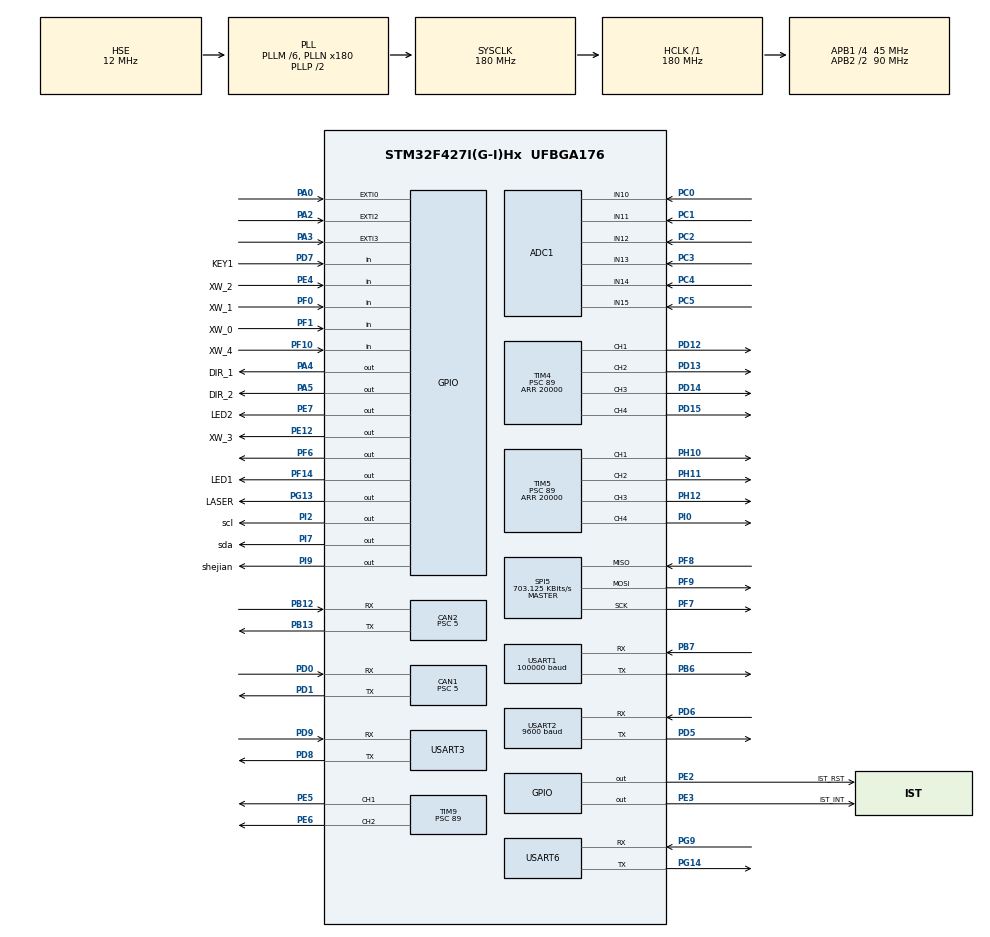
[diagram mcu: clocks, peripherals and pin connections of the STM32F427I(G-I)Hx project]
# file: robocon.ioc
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ADC1.Channel-0\#ChannelRegularConversion=ADC_CHANNEL_12
ADC1.Channel-1\#ChannelRegularConversion=ADC_CHANNEL_13
ADC1.Channel-2\#ChannelRegularConversion=ADC_CHANNEL_14
ADC1.Channel-3\#ChannelRegularConversion=ADC_CHANNEL_15
ADC1.Channel-4\#ChannelRegularConversion=ADC_CHANNEL_10
ADC1.Channel-5\#ChannelRegularConversion=ADC_CHANNEL_11
ADC1.ContinuousConvMode=ENABLE
ADC1.DMAContinuousRequests=ENABLE
ADC1.NbrOfConversion=6
ADC1.NbrOfConversionFlag=1
ADC1.Rank-0\#ChannelRegularConversion=1
ADC1.Rank-1\#ChannelRegularConversion=2
ADC1.Rank-2\#ChannelRegularConversion=3
ADC1.Rank-3\#ChannelRegularConversion=4
ADC1.Rank-4\#ChannelRegularConversion=5
ADC1.Rank-5\#ChannelRegularConversion=6
ADC1.SamplingTime-0\#ChannelRegularConversion=ADC_SAMPLETIME_3CYCLES
ADC1.SamplingTime-1\#ChannelRegularConversion=ADC_SAMPLETIME_3CYCLES
ADC1.SamplingTime-2\#ChannelRegularConversion=ADC_SAMPLETIME_3CYCLES
ADC1.SamplingTime-3\#ChannelRegularConversion=ADC_SAMPLETIME_3CYCLES
ADC1.SamplingTime-4\#ChannelRegularConversion=ADC_SAMPLETIME_3CYCLES
ADC1.SamplingTime-5\#ChannelRegularConversion=ADC_SAMPLETIME_3CYCLES
ADC1.ScanConvMode=ENABLE
ADC1.master=1
CAN1.ABOM=ENABLE
CAN1.BS1=CAN_BS1_3TQ
CAN1.BS2=CAN_BS2_5TQ
CAN1.CalculateBaudRate=1000000
CAN1.CalculateTimeBit=999.99
CAN1.CalculateTimeQuantum=111.11111111111111
CAN1.Prescaler=5
CAN1.SJW=CAN_SJW_1TQ
CAN2.ABOM=ENABLE
CAN2.BS1=CAN_BS1_3TQ
CAN2.BS2=CAN_BS2_5TQ
CAN2.CalculateBaudRate=1000000
CAN2.CalculateTimeBit=999.99
CAN2.CalculateTimeQuantum=111.11111111111111
CAN2.Prescaler=5
CAN2.SJW=CAN_SJW_1TQ
Dma.ADC1.3.Direction=DMA_PERIPH_TO_MEMORY
Dma.ADC1.3.FIFOMode=DMA_FIFOMODE_DISABLE
Dma.ADC1.3.Instance=DMA2_Stream0
Dma.ADC1.3.MemDataAlignment=DMA_MDATAALIGN_WORD
Dma.ADC1.3.MemInc=DMA_MINC_ENABLE
Dma.ADC1.3.Mode=DMA_CIRCULAR
Dma.ADC1.3.PeriphDataAlignment=DMA_PDATAALIGN_WORD
Dma.ADC1.3.PeriphInc=DMA_PINC_DISABLE
Dma.ADC1.3.Priority=DMA_PRIORITY_MEDIUM
Dma.Request0=USART1_RX
Dma.Request1=USART2_RX
Dma.Request2=USART6_RX
Dma.Request3=ADC1
Dma.Request4=USART2_TX
Dma.Request5=USART6_TX
Dma.USART1_RX.0.Direction=DMA_PERIPH_TO_MEMORY
Dma.USART1_RX.0.FIFOMode=DMA_FIFOMODE_DISABLE
Dma.USART1_RX.0.Instance=DMA2_Stream2
Dma.USART1_RX.0.MemDataAlignment=DMA_MDATAALIGN_BYTE
Dma.USART1_RX.0.MemInc=DMA_MINC_ENABLE
Dma.USART1_RX.0.Mode=DMA_CIRCULAR
Dma.USART1_RX.0.PeriphDataAlignment=DMA_PDATAALIGN_BYTE
Dma.USART1_RX.0.PeriphInc=DMA_PINC_DISABLE
Dma.USART1_RX.0.Priority=DMA_PRIORITY_MEDIUM
Dma.USART2_RX.1.Direction=DMA_PERIPH_TO_MEMORY
Dma.USART2_RX.1.FIFOMode=DMA_FIFOMODE_DISABLE
Dma.USART2_RX.1.Instance=DMA1_Stream5
Dma.USART2_RX.1.MemDataAlignment=DMA_MDATAALIGN_BYTE
Dma.USART2_RX.1.MemInc=DMA_MINC_ENABLE
Dma.USART2_RX.1.Mode=DMA_CIRCULAR
Dma.USART2_RX.1.PeriphDataAlignment=DMA_PDATAALIGN_BYTE
Dma.USART2_RX.1.PeriphInc=DMA_PINC_DISABLE
Dma.USART2_RX.1.Priority=DMA_PRIORITY_MEDIUM
Dma.USART2_TX.4.Direction=DMA_MEMORY_TO_PERIPH
Dma.USART2_TX.4.FIFOMode=DMA_FIFOMODE_DISABLE
Dma.USART2_TX.4.Instance=DMA1_Stream6
Dma.USART2_TX.4.MemDataAlignment=DMA_MDATAALIGN_BYTE
Dma.USART2_TX.4.MemInc=DMA_MINC_ENABLE
Dma.USART2_TX.4.Mode=DMA_NORMAL
Dma.USART2_TX.4.PeriphDataAlignment=DMA_PDATAALIGN_BYTE
Dma.USART2_TX.4.PeriphInc=DMA_PINC_DISABLE
Dma.USART2_TX.4.Priority=DMA_PRIORITY_MEDIUM
Dma.USART6_RX.2.Direction=DMA_PERIPH_TO_MEMORY
Dma.USART6_RX.2.FIFOMode=DMA_FIFOMODE_DISABLE
Dma.USART6_RX.2.Instance=DMA2_Stream1
Dma.USART6_RX.2.MemDataAlignment=DMA_MDATAALIGN_BYTE
Dma.USART6_RX.2.MemInc=DMA_MINC_ENABLE
Dma.USART6_RX.2.Mode=DMA_CIRCULAR
Dma.USART6_RX.2.PeriphDataAlignment=DMA_PDATAALIGN_BYTE
Dma.USART6_RX.2.PeriphInc=DMA_PINC_DISABLE
Dma.USART6_RX.2.Priority=DMA_PRIORITY_MEDIUM
Dma.USART6_TX.5.Direction=DMA_MEMORY_TO_PERIPH
Dma.USART6_TX.5.FIFOMode=DMA_FIFOMODE_DISABLE
Dma.USART6_TX.5.Instance=DMA2_Stream6
Dma.USART6_TX.5.MemDataAlignment=DMA_MDATAALIGN_BYTE
Dma.USART6_TX.5.MemInc=DMA_MINC_ENABLE
Dma.USART6_TX.5.Mode=DMA_NORMAL
Dma.USART6_TX.5.PeriphDataAlignment=DMA_PDATAALIGN_BYTE
Dma.USART6_TX.5.PeriphInc=DMA_PINC_DISABLE
Dma.USART6_TX.5.Priority=DMA_PRIORITY_MEDIUM
FREERTOS.Tasks01=defaultTask,0,128,StartDefaultTask,Default,NULL,Dynamic,NULL,NULL;myTask02,0,128,StartTask02,Default,NULL,Dynamic,NULL,NULL;myTask03,0,128,StartTask03,Default,NULL,Dynamic,NULL,NULL;myTask04,0,128,StartTask04,Default,NULL,Dynamic,NULL,NULL
Mcu.Family=STM32F4
Mcu.Name=STM32F427I(G-I)Hx
Mcu.Package=UFBGA176
NVIC.CAN1_RX0_IRQn=true\:5\:0\:false\:false\:true\:true\:true\:true
NVIC.CAN1_TX_IRQn=true\:5\:0\:false\:false\:true\:true\:true\:true
NVIC.CAN2_RX0_IRQn=true\:5\:0\:false\:false\:true\:false\:true\:true
NVIC.CAN2_TX_IRQn=true\:5\:0\:false\:false\:true\:false\:true\:true
NVIC.DMA1_Stream5_IRQn=true\:5\:0\:false\:false\:true\:true\:true\:true
NVIC.DMA1_Stream6_IRQn=true\:5\:0\:false\:false\:true\:true\:false\:true
NVIC.DMA2_Stream0_IRQn=true\:5\:0\:false\:false\:true\:true\:false\:true
NVIC.DMA2_Stream1_IRQn=true\:5\:0\:false\:false\:true\:true\:true\:true
NVIC.DMA2_Stream2_IRQn=true\:5\:0\:false\:false\:true\:true\:true\:true
NVIC.DMA2_Stream6_IRQn=true\:5\:0\:false\:false\:true\:true\:false\:true
NVIC.PriorityGroup=NVIC_PRIORITYGROUP_4
NVIC.TIM6_DAC_IRQn=true\:0\:0\:false\:false\:true\:false\:true\:true
NVIC.TIM7_IRQn=true\:5\:0\:false\:false\:true\:true\:true\:true
NVIC.TimeBase=TIM6_DAC_IRQn
NVIC.TimeBaseIP=TIM6
NVIC.USART1_IRQn=true\:5\:0\:true\:false\:true\:true\:true\:true
NVIC.USART2_IRQn=true\:5\:0\:true\:false\:true\:false\:true\:true
NVIC.USART6_IRQn=true\:5\:0\:true\:false\:true\:true\:true\:true
PA0/WKUP.Signal=GPXTI0
PA13.Mode=Serial_Wire
PA13.Signal=SYS_JTMS-SWDIO
PA14.Mode=Serial_Wire
PA14.Signal=SYS_JTCK-SWCLK
PA2.Signal=GPXTI2
PA3.Signal=GPXTI3
PA4.GPIO_Label=DIR_1
PA4.Signal=GPIO_Output
PA5.GPIO_Label=DIR_2
PA5.Signal=GPIO_Output
PB12.Mode=CAN_Activate
PB12.Signal=CAN2_RX
PB13.Mode=CAN_Activate
PB13.Signal=CAN2_TX
PB6.GPIO_PuPd=GPIO_PULLUP
PB6.Mode=Asynchronous
PB6.Signal=USART1_TX
PB7.GPIO_PuPd=GPIO_PULLUP
PB7.Mode=Asynchronous
PB7.Signal=USART1_RX
PC0.Signal=ADCx_IN10
PC1.Signal=ADCx_IN11
PC2.Signal=ADCx_IN12
PC3.Signal=ADCx_IN13
PC4.Signal=ADCx_IN14
PC5.Signal=ADCx_IN15
PD0.Mode=CAN_Activate
PD0.Signal=CAN1_RX
PD1.Mode=CAN_Activate
PD1.Signal=CAN1_TX
PD12.Signal=S_TIM4_CH1
PD13.Signal=S_TIM4_CH2
PD14.Signal=S_TIM4_CH3
PD15.Signal=S_TIM4_CH4
PD5.Mode=Asynchronous
PD5.Signal=USART2_TX
PD6.Mode=Asynchronous
PD6.Signal=USART2_RX
PD7.GPIO_Label=KEY1
PD7.Signal=GPIO_Input
PD8.Mode=Asynchronous
PD8.Signal=USART3_TX
PD9.Mode=Asynchronous
PD9.Signal=USART3_RX
PE12.GPIO_Label=XW_3
PE12.GPIO_Speed=GPIO_SPEED_FREQ_HIGH
PE12.PinState=GPIO_PIN_SET
PE12.Signal=GPIO_Output
PE2.GPIO_Label=IST_RST
PE2.PinState=GPIO_PIN_SET
PE2.Signal=GPIO_Output
PE3.GPIO_Label=IST_INT
PE3.Signal=GPIO_Output
PE4.GPIO_Label=XW_2
PE4.GPIO_PuPd=GPIO_PULLUP
PE4.Signal=GPIO_Input
PE5.Signal=S_TIM9_CH1
PE6.Signal=S_TIM9_CH2
PE7.GPIO_Label=LED2
PE7.Signal=GPIO_Output
PF0.GPIO_Label=XW_1
PF0.GPIO_PuPd=GPIO_PULLUP
PF0.Signal=GPIO_Input
PF1.GPIO_Label=XW_0
PF1.GPIO_PuPd=GPIO_PULLUP
PF1.Signal=GPIO_Input
PF10.GPIO_Label=XW_4
PF10.GPIO_PuPd=GPIO_PULLUP
PF10.Signal=GPIO_Input
PF14.GPIO_Label=LED1
PF14.Signal=GPIO_Output
PF6.Signal=GPIO_Output
PF7.Mode=Full_Duplex_Master
PF7.Signal=SPI5_SCK
PF8.Mode=Full_Duplex_Master
PF8.Signal=SPI5_MISO
PF9.Mode=Full_Duplex_Master
PF9.Signal=SPI5_MOSI
PG13.GPIO_Label=LASER
PG13.Signal=GPIO_Output
PG14.Mode=Asynchronous
PG14.Signal=USART6_TX
PG9.Mode=Asynchronous
PG9.Signal=USART6_RX
PH0/OSC_IN.Mode=HSE-External-Oscillator
PH0/OSC_IN.Signal=RCC_OSC_IN
PH1/OSC_OUT.Mode=HSE-External-Oscillator
PH1/OSC_OUT.Signal=RCC_OSC_OUT
PH10.Signal=S_TIM5_CH1
PH11.Signal=S_TIM5_CH2
PH12.Signal=S_TIM5_CH3
PI0.Signal=S_TIM5_CH4
PI2.GPIO_Label=scl
PI2.Signal=GPIO_Output
PI7.GPIO_Label=sda
PI7.Signal=GPIO_Output
PI9.GPIO_Label=shejian
PI9.Signal=GPIO_Output
ProjectManager.HeapSize=0x200
ProjectManager.StackSize=0x400
ProjectManager.TargetToolchain=MDK-ARM V5
RCC.48MHZClocksFreq_Value=90000000
RCC.AHBFreq_Value=180000000
RCC.APB1CLKDivider=RCC_HCLK_DIV4
RCC.APB1Freq_Value=45000000
RCC.APB1TimFreq_Value=90000000
RCC.APB2CLKDivider=RCC_HCLK_DIV2
RCC.APB2Freq_Value=90000000
RCC.APB2TimFreq_Value=180000000
RCC.CortexFreq_Value=180000000
RCC.HCLKFreq_Value=180000000
RCC.HSE_VALUE=12000000
RCC.HSI_VALUE=16000000
RCC.LSE_VALUE=32768
RCC.PLLM=6
RCC.PLLN=180
RCC.PLLSourceVirtual=RCC_PLLSOURCE_HSE
RCC.SYSCLKFreq_VALUE=180000000
RCC.SYSCLKSource=RCC_SYSCLKSOURCE_PLLCLK
RCC.VCOOutputFreq_Value=360000000
SH.ADCx_IN10.0=ADC1_IN10,IN10
SH.ADCx_IN11.0=ADC1_IN11,IN11
SH.ADCx_IN12.0=ADC1_IN12,IN12
SH.ADCx_IN13.0=ADC1_IN13,IN13
SH.ADCx_IN14.0=ADC1_IN14,IN14
SH.ADCx_IN15.0=ADC1_IN15,IN15
SH.S_TIM4_CH1.0=TIM4_CH1,PWM Generation1 CH1
SH.S_TIM4_CH2.0=TIM4_CH2,PWM Generation2 CH2
SH.S_TIM4_CH3.0=TIM4_CH3,PWM Generation3 CH3
SH.S_TIM4_CH4.0=TIM4_CH4,PWM Generation4 CH4
SH.S_TIM5_CH1.0=TIM5_CH1,PWM Generation1 CH1
SH.S_TIM5_CH2.0=TIM5_CH2,PWM Generation2 CH2
SH.S_TIM5_CH3.0=TIM5_CH3,PWM Generation3 CH3
SH.S_TIM5_CH4.0=TIM5_CH4,PWM Generation4 CH4
SH.S_TIM9_CH1.0=TIM9_CH1,PWM Generation1 CH1
SH.S_TIM9_CH2.0=TIM9_CH2,PWM Generation2 CH2
SPI5.BaudRatePrescaler=SPI_BAUDRATEPRESCALER_128
SPI5.CalculateBaudRate=703.125 KBits/s
SPI5.Direction=SPI_DIRECTION_2LINES
SPI5.Mode=SPI_MODE_MASTER
SPI5.VirtualType=VM_MASTER
TIM4.Channel-PWM\ Generation1\ CH1=TIM_CHANNEL_1
TIM4.Channel-PWM\ Generation2\ CH2=TIM_CHANNEL_2
TIM4.Channel-PWM\ Generation3\ CH3=TIM_CHANNEL_3
TIM4.Channel-PWM\ Generation4\ CH4=TIM_CHANNEL_4
TIM4.Period=20000
TIM4.Prescaler=89
TIM5.Channel-PWM\ Generation1\ CH1=TIM_CHANNEL_1
TIM5.Channel-PWM\ Generation2\ CH2=TIM_CHANNEL_2
TIM5.Channel-PWM\ Generation3\ CH3=TIM_CHANNEL_3
TIM5.Channel-PWM\ Generation4\ CH4=TIM_CHANNEL_4
TIM5.Period=20000
TIM5.Prescaler=89
TIM7.Period=5000
TIM7.Prescaler=89
TIM9.Channel-PWM\ Generation1\ CH1=TIM_CHANNEL_1
TIM9.Channel-PWM\ Generation2\ CH2=TIM_CHANNEL_2
TIM9.Period=20000
TIM9.Prescaler=89
USART1.BaudRate=100000
USART1.Parity=PARITY_EVEN
USART1.VirtualMode=VM_ASYNC
USART2.BaudRate=9600
USART2.VirtualMode=VM_ASYNC
USART3.VirtualMode=VM_ASYNC
USART6.VirtualMode=VM_ASYNC
VP_FREERTOS_VS_CMSIS_V1.Mode=CMSIS_V1
VP_SYS_VS_tim6.Mode=TIM6
VP_TIM7_VS_ClockSourceINT.Mode=Enable_Timer
board=demo

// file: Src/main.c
/* USER CODE BEGIN Header */
/**
  ******************************************************************************
  * @file           : main.c
  * @brief          : Main program body
  ******************************************************************************
  * @attention
  *
  * <h2><center>&copy; Copyright (c) 2021 STMicroelectronics.
  * All rights reserved.</center></h2>
  *
  * This software component is licensed by ST under Ultimate Liberty license
  * SLA0044, the "License"; You may not use this file except in compliance with
  * the License. You may obtain a copy of the License at:
  *                             www.st.com/SLA0044
  *
  ******************************************************************************
  */
/* USER CODE END Header */
#include "main.h"
#include "cmsis_os.h"
#include "adc.h"
#include "can.h"
#include "dma.h"
#include "spi.h"
#include "tim.h"
#include "usart.h"
#include "gpio.h"

/* USER CODE BEGIN Includes */
#include "stm32f4xx_hal.h"
#include "bsp_imu.h"
#include "stdio.h"
#include "bsp_uart.h"
#include "moter.h"
#include "control.h"
#include "bsp_can.h"
#define BUFFER_SIZE 100
volatile uint8_t rx_len = 0, rx_len2 = 0, rx_len3 = 0;                      //接收一帧数据的长度
volatile uint8_t recv_end_flag = 0, recv_end_flag2 = 0, recv_end_flag3 = 0,recv_cmd_flag2=0; //一帧数据接收完成标志
uint8_t rx_buffer[100] = {0}, rx_buffer2[100] = {0}, rx_buffer3[100] = {0}; //接收数据缓存数组
extern DMA_HandleTypeDef hdma_usart6_rx;
extern rc_info_t rc;
extern float orignal_yaw, yaw;

/* USER CODE END Includes */

/* USER CODE BEGIN PV */
/* Private variables ---------------------------------------------------------*/

/* USER CODE END PV */

void SystemClock_Config(void);
void MX_FREERTOS_Init(void);
/* USER CODE BEGIN PFP */
/* Private function prototypes -----------------------------------------------*/

/* USER CODE END PFP */

/* USER CODE BEGIN 0 */
void HAL_UART_RxCpltCallback(UART_HandleTypeDef *huart)
{
  /* Prevent unused argument(s) compilation warning */
  UNUSED(huart);
  /* NOTE: This function should not be modified, when the callback is needed,
             the HAL_UART_RxCpltCallback could be implemented in the user file
     */
}
/* USER CODE END 0 */

int main(void)
{

  /* MCU Configuration--------------------------------------------------------*/

  /* Reset of all peripherals, Initializes the Flash interface and the Systick. */
  HAL_Init();

  /* Configure the system clock */
  SystemClock_Config();

  /* Initialize all configured peripherals */
  MX_GPIO_Init();
  MX_DMA_Init();
  MX_CAN1_Init();
  MX_CAN2_Init();
  MX_SPI5_Init();
  MX_USART1_UART_Init();
  MX_USART2_UART_Init();
  MX_USART6_UART_Init();
  MX_ADC1_Init();
  MX_TIM7_Init();
  MX_USART3_UART_Init();
  MX_TIM9_Init();
  MX_TIM4_Init();
  MX_TIM5_Init();
  /* USER CODE BEGIN 2 */
  HAL_TIM_PWM_Start(&htim9, TIM_CHANNEL_1);
  HAL_TIM_PWM_Start(&htim9, TIM_CHANNEL_2);
	HAL_TIM_PWM_Start(&htim4, TIM_CHANNEL_1);
	HAL_TIM_PWM_Start(&htim4, TIM_CHANNEL_2);
	HAL_TIM_PWM_Start(&htim4, TIM_CHANNEL_3);
	HAL_TIM_PWM_Start(&htim4, TIM_CHANNEL_4);
  dbus_uart_init(); //dbus
  mpu_device_init();
	init_quaternion();

  ////    HAL_Delay(2000);
  /* USER CODE END 2 */

  /* Call init function for freertos objects (in freertos.c) */
  MX_FREERTOS_Init();
  /* Start scheduler */
  osKernelStart();

  /* We should never get here as control is now taken by the scheduler */
  /* Infinite loop */
  while (1)
  {

  }
}

void SystemClock_Config(void)
{
  RCC_OscInitTypeDef RCC_OscInitStruct = {0};
  RCC_ClkInitTypeDef RCC_ClkInitStruct = {0};

  /** Configure the main internal regulator output voltage
  */
  __HAL_RCC_PWR_CLK_ENABLE();
  __HAL_PWR_VOLTAGESCALING_CONFIG(PWR_REGULATOR_VOLTAGE_SCALE1);
  /** Initializes the RCC Oscillators according to the specified parameters
  * in the RCC_OscInitTypeDef structure.
  */
  RCC_OscInitStruct.OscillatorType = RCC_OSCILLATORTYPE_HSE;
  RCC_OscInitStruct.HSEState = RCC_HSE_ON;
  RCC_OscInitStruct.PLL.PLLState = RCC_PLL_ON;
  RCC_OscInitStruct.PLL.PLLSource = RCC_PLLSOURCE_HSE;
  RCC_OscInitStruct.PLL.PLLM = 6;
  RCC_OscInitStruct.PLL.PLLN = 180;
  RCC_OscInitStruct.PLL.PLLP = RCC_PLLP_DIV2;
  RCC_OscInitStruct.PLL.PLLQ = 4;
  if (HAL_RCC_OscConfig(&RCC_OscInitStruct) != HAL_OK)
  {
    Error_Handler();
  }
  /** Activate the Over-Drive mode
  */
  if (HAL_PWREx_EnableOverDrive() != HAL_OK)
  {
    Error_Handler();
  }
  /** Initializes the CPU, AHB and APB buses clocks
  */
  RCC_ClkInitStruct.ClockType = RCC_CLOCKTYPE_HCLK|RCC_CLOCKTYPE_SYSCLK
                              |RCC_CLOCKTYPE_PCLK1|RCC_CLOCKTYPE_PCLK2;
  RCC_ClkInitStruct.SYSCLKSource = RCC_SYSCLKSOURCE_PLLCLK;
  RCC_ClkInitStruct.AHBCLKDivider = RCC_SYSCLK_DIV1;
  RCC_ClkInitStruct.APB1CLKDivider = RCC_HCLK_DIV4;
  RCC_ClkInitStruct.APB2CLKDivider = RCC_HCLK_DIV2;

  if (HAL_RCC_ClockConfig(&RCC_ClkInitStruct, FLASH_LATENCY_5) != HAL_OK)
  {
    Error_Handler();
  }
}

 /**
  * @brief  Period elapsed callback in non blocking mode
  * @note   This function is called  when TIM6 interrupt took place, inside
  * HAL_TIM_IRQHandler(). It makes a direct call to HAL_IncTick() to increment
  * a global variable "uwTick" used as application time base.
  * @param  htim : TIM handle
  * @retval None
  */
void HAL_TIM_PeriodElapsedCallback(TIM_HandleTypeDef *htim)
{
  /* USER CODE BEGIN Callback 0 */
  if (htim->Instance == TIM7)
  {
//    set_c620moter(c620_moter.distance[0], c620_moter.distance[1], c620_moter.distance[2], c620_moter.distance[3]); //其余电机的位置控制
    if (rc.sw1 == 1)                                                                                               //模式一  自动模式
    {
			Exp_Speed_Cal(10);//计算轮子的速度和方向
      setMotor_dir(kinematics.exp_vel[0].jiado, kinematics.exp_vel[1].jiado, kinematics.exp_vel[2].jiado, kinematics.exp_vel[3].jiado);
      setMotor(kinematics.exp_vel[0].speed, kinematics.exp_vel[1].speed, kinematics.exp_vel[2].speed, kinematics.exp_vel[3].speed);
//      setallMotor_juli(c620_moter.distance[0], c620_moter.distance[1], c620_moter.distance[2], c620_moter.distance[3]);
//		   setSingleMotor_juli(M3, 8192*19*2);
    }
    else if (rc.sw1 == 2) //模式二 遥控模式
    {
      Calculate(rc.ch4 / 250.0f, rc.ch3 / 250.0f, rc.ch2 / 660.f);
//    pid_calc(&yaw_pos, imu.wz, 0);
      setMotor_dir(kinematics.exp_vel[0].jiado, kinematics.exp_vel[1].jiado, kinematics.exp_vel[2].jiado, kinematics.exp_vel[3].jiado);
      setMotor(kinematics.exp_vel[0].speed - yaw_pos.pos_out, kinematics.exp_vel[1].speed + yaw_pos.pos_out, kinematics.exp_vel[2].speed + yaw_pos.pos_out, kinematics.exp_vel[3].speed - yaw_pos.pos_out);
    }
    else if (rc.sw1 == 3 || rc.sw1 == 0) //模式三 保险模式
    {
//     set_c620moter(c620_moter.distance[0],c620_moter.distance[1],c620_moter.distance[2],c620_moter.distance[3]);
      setMotor_dir(0, 0, 0, 0);
      setMotor(0, 0, 0, 0);
    }
  }

  /* USER CODE END Callback 0 */
  if (htim->Instance == TIM6) {
    HAL_IncTick();
  }
}

void Error_Handler(void)
{
  __disable_irq();
  while (1)
  {
  }
}

/************************ (C) COPYRIGHT STMicroelectronics *****END OF FILE****/

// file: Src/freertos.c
/* USER CODE BEGIN Header */
/**
  ******************************************************************************
  * File Name          : freertos.c
  * Description        : Code for freertos applications
  ******************************************************************************
  * @attention
  *
  * <h2><center>&copy; Copyright (c) 2021 STMicroelectronics.
  * All rights reserved.</center></h2>
  *
  * This software component is licensed by ST under Ultimate Liberty license
  * SLA0044, the "License"; You may not use this file except in compliance with
  * the License. You may obtain a copy of the License at:
  *                             www.st.com/SLA0044
  *
  ******************************************************************************
  */
/* USER CODE END Header */

#include "FreeRTOS.h"
#include "task.h"
#include "main.h"
#include "cmsis_os.h"

/* USER CODE BEGIN Includes */
#include "pid.h"
#include "bsp_can.h"
#include "mytype.h"
#include "tim.h"
#include "stdio.h"
#include "moter.h"
#include "main.h"
#include "taks.h"
#include "pca.h"
/* USER CODE END Includes */

/* USER CODE BEGIN PTD */
#include "bsp_imu.h"
#include "bsp_uart.h"
#include "control.h"
#include "iic.h"
#include "pca.h"
char buf[300];
extern UART_HandleTypeDef huart6;
extern ADC_HandleTypeDef hadc1;
extern rc_info_t rc;
uint32_t ADC_Value[120];
uint32_t ad1, ad2, ad3, ad4, ad5, ad6;
float tuolun_angle[6] = {0}, pre_angle[6] = {0};
#define fab(x) x > 0 ? x : -x
u8 dir = 1;
float orignal_yaw = 0.0f;
#define COUNTOF(__BUFFER__) (sizeof(__BUFFER__) / sizeof(*(__BUFFER__)))
extern float yaw;
extern volatile uint8_t rx_len, rx_len2, rx_len3;                      //接收一帧数据的长度
extern volatile uint8_t recv_end_flag, recv_end_flag2, recv_end_flag3,recv_cmd_flag2; //一帧数据接收完成标志
extern uint8_t rx_buffer[100], rx_buffer2[100], rx_buffer3[100];       //接收数据缓存数组
int big_flag=0;
/* USER CODE END PTD */

osThreadId defaultTaskHandle;
osThreadId myTask02Handle;
osThreadId myTask03Handle;
osThreadId myTask04Handle;

/* USER CODE BEGIN FunctionPrototypes */
void set_total_angle(moto_measure_t *p, moto_measure_t *p1, int angle, u8 dir, u16 speed); //
void weizhihuan(moto_measure_t *p, float angle);
void weizhihuan_duolun(moto_measure_t *p, float mesure, float angle);
extern TIM_HandleTypeDef htim7;
float oringal_yaw = 0.0f;
float exp_jiaou=260.2f;
extern rc_info_t rc;
/* USER CODE END FunctionPrototypes */

void StartDefaultTask(void const * argument);
void StartTask02(void const * argument);
void StartTask03(void const * argument);
void StartTask04(void const * argument);

void MX_FREERTOS_Init(void); /* (MISRA C 2004 rule 8.1) */

/* GetIdleTaskMemory prototype (linked to static allocation support) */
void vApplicationGetIdleTaskMemory( StaticTask_t **ppxIdleTaskTCBBuffer, StackType_t **ppxIdleTaskStackBuffer, uint32_t *pulIdleTaskStackSize );

/* USER CODE BEGIN GET_IDLE_TASK_MEMORY */
static StaticTask_t xIdleTaskTCBBuffer;
static StackType_t xIdleStack[configMINIMAL_STACK_SIZE];

void vApplicationGetIdleTaskMemory(StaticTask_t **ppxIdleTaskTCBBuffer, StackType_t **ppxIdleTaskStackBuffer, uint32_t *pulIdleTaskStackSize)
{
  *ppxIdleTaskTCBBuffer = &xIdleTaskTCBBuffer;
  *ppxIdleTaskStackBuffer = &xIdleStack[0];
  *pulIdleTaskStackSize = configMINIMAL_STACK_SIZE;
  /* place for user code */
}
/* USER CODE END GET_IDLE_TASK_MEMORY */

void MX_FREERTOS_Init(void) {

  /* Create the thread(s) */
  /* definition and creation of defaultTask */
  osThreadDef(defaultTask, StartDefaultTask, osPriorityNormal, 0, 128);
  defaultTaskHandle = osThreadCreate(osThread(defaultTask), NULL);

  /* definition and creation of myTask02 */
  osThreadDef(myTask02, StartTask02, osPriorityNormal, 0, 128);
  myTask02Handle = osThreadCreate(osThread(myTask02), NULL);

  /* definition and creation of myTask03 */
  osThreadDef(myTask03, StartTask03, osPriorityNormal, 0, 128);
  myTask03Handle = osThreadCreate(osThread(myTask03), NULL);

  /* definition and creation of myTask04 */
  osThreadDef(myTask04, StartTask04, osPriorityNormal, 0, 128);
  myTask04Handle = osThreadCreate(osThread(myTask04), NULL);

}

void StartDefaultTask(void const * argument)
{
  /* USER CODE BEGIN StartDefaultTask */
  my_can_filter_init_recv_all(&hcan1);
  can_filter_recv_special(&hcan2);
  HAL_CAN_ActivateNotification(&hcan1, CAN_IT_RX_FIFO0_MSG_PENDING); // Enable interrupts
  HAL_CAN_ActivateNotification(&hcan2, CAN_IT_RX_FIFO0_MSG_PENDING); // Enable interrupts
  duo_lun_speed_init();
  duo_lun_Dir_init();
  Kinematics_Init();
  C610_init();
  set_exp(60, 60);
  __HAL_UART_ENABLE_IT(&huart6, UART_IT_IDLE);
  HAL_UART_Receive_DMA(&huart6, rx_buffer, 100);
  __HAL_UART_ENABLE_IT(&huart2, UART_IT_IDLE);
  HAL_UART_Receive_DMA(&huart2, rx_buffer2, 100);
  PID_struct_init(&yaw_pos, DELTA_PID, 3500, 500, 1272.6f, 12.5f, 0.3f);           //转向环
  PID_struct_init(&PID_Position_X, POSITION_PID, 5000, 1000, 52.6f, 0.01f, 28.0f); //x方向
  PID_struct_init(&PID_Position_Y, POSITION_PID, 5000, 1000, 52.6f, 0.01f, 28.0f); //y方向
  send_com(&huart2, 0x38);//imu_init
  osDelay(1000);
  orignal_yaw = yaw;
	__HAL_TIM_SetCompare(&htim9, TIM_CHANNEL_2, 2200);
	__HAL_TIM_SetCompare(&htim4, TIM_CHANNEL_1, 2200);
  for (int i = 0; i < 8; i++)
    moto_chassis[i].total_angle = 0; //清零

	 HAL_TIM_Base_Start_IT(&htim7);
//	 __HAL_TIM_SetCompare(&htim4, TIM_CHANNEL_3, 20000);
//	 set_high(215);
//	 osDelay(1500);
//  init_guiwei(); //初始化机械臂 归为
//    for(int i=0;i<4;i++)
//		{
//			kinematics.exp_vel[i].jiado=45;
//		}
		osDelay(1000);
//  HAL_TIM_Base_Start_IT(&htim7);
  for (;;)
  {
//		pca_setpwm(0,0,130);
		printf("yaw:%f\r\n",yaw);
//			__HAL_TIM_SetCompare(&htim4, TIM_CHANNEL_1, 1200);
//		qujian();
//	if(big_flag)//串口屏的操作
//	{
////		printf("fhud");
//		set_high(cmd_data[0].shuju/10.0f);
//		c620_moter.distance[0] = cmd_data[1].shuju*1.2*819.2f;//pian yi jiaodu
//		Archery_action(cmd_data[2].shuju/10.0f);
//		big_flag=0;
//	}
    //        Calculate(rc.ch4 / 250.0f, rc.ch3 / 400.0f, rc.ch2 / 600.0f, -999);
    //				 printf("AD1_value=%1.3f AD2_value=%1.3f AD3_value=%1.3f AD5_value=%1.3f\r\n ", tuolun_angle[0], tuolun_angle[1],tuolun_angle[2],tuolun_angle[4]);
    osDelay(20);
  }
  /* USER CODE END StartDefaultTask */
}

void StartTask02(void const * argument)
{
  /* USER CODE BEGIN StartTask02 */
  u8 i;

  float yingzi = 0.1;
  HAL_ADC_Start_DMA(&hadc1, (uint32_t *)&ADC_Value, 120);
  /* Infinite loop */
  for (;;)
  {
    for (i = 0, ad1 = ad2 = ad3 = ad4 = ad5 = ad6 = 0; i < 120;)
    {
      ad1 += ADC_Value[i++];
      ad2 += ADC_Value[i++];
      ad3 += ADC_Value[i++];
      ad4 += ADC_Value[i++];
      ad5 += ADC_Value[i++];
      ad6 += ADC_Value[i++];
    }
    ad1 /= 20;
    ad2 /= 20;
    ad3 /= 20;
    ad4 /= 20;
    ad5 /= 20;
    ad6 /= 20;
    pre_angle[0] = 360 * (ad1 / 4096.0f) ; //(ad1 * 3.3f * 110.0917f) / (4096 * (3.26 / 3.3));//(ad1 * 3.3f * 110.0917f) / (4096 * (3.26 / 3.3))
    pre_angle[1] = 360 * (ad2 / 4096.0f) ;
    pre_angle[2] = 360 * (ad3 / 4096.0f) ;
    pre_angle[3] = 360 * (ad4 / 4096.0f) ;
    pre_angle[4] = 360 * (ad5 / 4096.0f);
    pre_angle[5] = 360 * (ad6 / 4096.0f);
    tuolun_angle[0] = yingzi * tuolun_angle[0] + (1 - yingzi) * pre_angle[0]; //低通滤波
    tuolun_angle[1] = yingzi * tuolun_angle[1] + (1 - yingzi) * pre_angle[1];
    tuolun_angle[2] = yingzi * tuolun_angle[2] + (1 - yingzi) * pre_angle[2];
    tuolun_angle[3] = yingzi * tuolun_angle[3] + (1 - yingzi) * pre_angle[3];
    tuolun_angle[4] = yingzi * tuolun_angle[4] + (1 - yingzi) * pre_angle[4];
    tuolun_angle[5] = yingzi * tuolun_angle[5] + (1 - yingzi) * pre_angle[5];
//      1_value=%1.3f AD2_value=%1.3f AD3_value=%1.3f AD5_value=%1.3f\r\n ", tuolun_angle[0], tuolun_angle[1],tuolun_angle[2],tuolun_angle[3]);
    osDelay(5);
  }
  /* USER CODE END StartTask02 */
}

/* USER CODE BEGIN Header_StartTask03 */
/*
* @brief Function implementing the myTask03 thread.
* @param argument: Not used
* @retval None
*/
/* USER CODE END Header_StartTask03 */
void StartTask03(void const * argument)
{
  /* USER CODE BEGIN StartTask03 */
  /* Infinite loop */
  for (;;)
  {
	 mpu_get_data();
	 imu_ahrs_update();
	 imu_attitude_update();
//	printf("%f  %f  \r\n",imu.wz,imu.yaw);
//   set_duojjiaodu(exp_jiaou);
    if (recv_end_flag == 1) //接收完成标志
    {
      HAL_UART_Transmit_DMA(&huart6, rx_buffer, rx_len);
      rx_len = 0;        //清除计数
      recv_end_flag = 0; //清除接收结束标志位
      memset(rx_buffer, 0, rx_len);
      HAL_UART_Receive_DMA(&huart6, rx_buffer, 100); //重新打开DMA接收z
    }
    if (recv_end_flag2 == 1) //接收完成标志
    {
//       HAL_UART_Transmit_DMA(&huart2, rx_buffer2, rx_len2);
       rx_len2 = 0;        //清除计数
      recv_end_flag2 = 0; //清除接收结束标志位
      HAL_UART_Receive_DMA(&huart2, rx_buffer2, 100); //重新打开DMA接收z
    }
//		if (recv_cmd_flag2 == 1) //接收完成标志
//    {
//      // HAL_UART_Transmit_DMA(&huart2, rx_buffer2, rx_len2);
//      // rx_len2 = 0;        //清除计数
//      recv_cmd_flag2 = 0; //清除接收结束标志位
//      // memset(rx_buffer2, 0, rx_len2);
//			for(int i=0;i<3;i++)
//			{
//				printf("%f  ",cmd_data[i].shuju/10.0f);
//			}
//			printf("\r\n");
//			big_flag=1;
////			Archery_action(cmd_data[2].shuju/10.0f);
//      HAL_UART_Receive_DMA(&huart2, rx_buffer2, 100); //重新打开DMA接收z
//    }
    //        printf("AD1_value=%1.3f AD2_value=%1.3f AD3_value=%1.3f AD5_value=%1.3f\r\n ", tuolun_angle[0], tuolun_angle[1],tuolun_angle[2],tuolun_angle[4]);
    osDelay(5);
  }
  /* USER CODE END StartTask03 */
}

void StartTask04(void const * argument)
{
  /* USER CODE BEGIN StartTask04 */
  /* Infinite loop */
	 osDelay(5000);
  for (;;)
  {
		Ctrl_Task(10);
//	if(rc.sw1 == 1)
//	{
//		Ctrl_Task(50);
////    if (rc.sw1 == 1)
////		{
////			 osDelay(5);-
////		}
//
////      set_point(data1, data2);
////		  read_data();
////   	printf("  ceiju=%1.3f\r\n ",jiguag_data1[3]);
////   		printf("%f  %f   %f\r\n",data1,data2,kinematics.exp_vel[0].speed);
////    		sprintf(buf, "CH1: %4d  CH2: %4d  CH3: %4d  CH4: %4d  SW1: %1d  SW2: %1d \r\n", rc.ch1, rc.ch2, rc.ch3, rc.ch4, rc.sw1, rc.sw2);
////        HAL_UART_Transmit(&huart6, (uint8_t *)buf, (COUNTOF(buf) - 1), 0xffff);
//
//	}
	 osDelay(10);
  }
  /* USER CODE END StartTask04 */
}

/************************ (C) COPYRIGHT STMicroelectronics *****END OF FILE****/
